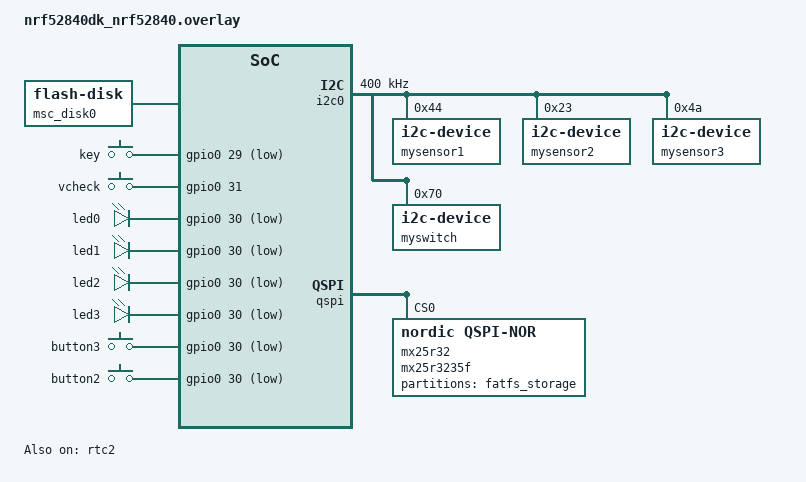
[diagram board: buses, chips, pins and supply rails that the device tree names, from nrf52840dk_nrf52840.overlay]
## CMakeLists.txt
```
# SPDX-License-Identifier: Apache-2.0

cmake_minimum_required(VERSION 3.20.0)

find_package(Zephyr REQUIRED HINTS $ENV{ZEPHYR_BASE})
project(MscAndBLE)

target_include_directories(app PRIVATE inc)
target_sources(app PRIVATE
 src/main.c
 src/sensor.c
 src/user_gpio.c
 src/user_workQueue.c
 src/user_rtc.c
 src/user_storage.c
 src/lcd.c
 src/bat_ssadc.c
 src/ble_nus_order.c
 src/button.c
 src/server_4G.c
 )
```

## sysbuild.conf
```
# SB_CONFIG_PARTITION_MANAGER=y
# Enable MCUboot bootloader supportß
SB_CONFIG_BOOTLOADER_MCUBOOT=y

#DO NOT FORGET TO USE YOUR OWN PRIVATE KEY FOR SIGNING THE IMAGE
# SB_CONFIG_BOOT_SIGNATURE_KEY_FILE="/home/my_ubuntu/my_precious_key/priv.pem"ß
```

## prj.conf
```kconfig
CONFIG_FPU=y

# application prj config
CONFIG_LOG=y
CONFIG_LOG_PRINTK=y
CONFIG_LOG_BACKEND_RTT=y
CONFIG_DK_LIBRARY=y

# use set RTT conslole 
CONFIG_USE_SEGGER_RTT=y
CONFIG_RTT_CONSOLE=y
CONFIG_UART_CONSOLE=n

# user BT software config
CONFIG_BT=y
# add BT peripheral rola support AD
CONFIG_BT_PERIPHERAL=y
# add nus service
CONFIG_BT_NUS=y

CONFIG_BT_GATT_CLIENT=y  
# auto update connection parameters
CONFIG_BT_PERIPHERAL_PREF_MIN_INT=32
CONFIG_BT_PERIPHERAL_PREF_MAX_INT=48 
CONFIG_BT_PERIPHERAL_PREF_LATENCY=0
CONFIG_BT_PERIPHERAL_PREF_TIMEOUT=400  
CONFIG_BT_GAP_AUTO_UPDATE_CONN_PARAMS=y 
# Enable PHY updates.
CONFIG_BT_USER_PHY_UPDATE=y
# auto update MTU data length
CONFIG_BT_USER_DATA_LEN_UPDATE=y     
CONFIG_BT_CTLR_DATA_LENGTH_MAX=251
CONFIG_BT_BUF_ACL_RX_SIZE=251
CONFIG_BT_BUF_ACL_TX_SIZE=251
CONFIG_BT_L2CAP_TX_MTU=247

# max event length is 600000 us
CONFIG_BT_CTLR_SDC_MAX_CONN_EVENT_LEN_DEFAULT=60000   

# # user config nrfx SAADC driver 
CONFIG_NRFX_SAADC=y

# user HCI read Rssi
CONFIG_BT_CTLR_CONN_RSSI=y

# user set DIS information seriver
CONFIG_BT_DIS=y
CONFIG_BT_DIS_PNP=n
CONFIG_BT_DIS_MODEL="YK-TM"
CONFIG_BT_DIS_MANUF="徐州永康电子"
CONFIG_BT_DIS_SERIAL_NUMBER=y
CONFIG_BT_DIS_FW_REV=y
CONFIG_BT_DIS_HW_REV=y
CONFIG_BT_DIS_SW_REV=y
CONFIG_BT_DIS_SERIAL_NUMBER_STR="multisensor"
CONFIG_BT_DIS_FW_REV_STR="V0.0.1"
CONFIG_BT_DIS_HW_REV_STR="V0.0.1"
CONFIG_BT_DIS_SW_REV_STR="NCS V3.1.0"
# DIS date put in flash
CONFIG_BT_SETTINGS=y
CONFIG_SETTINGS_RUNTIME=y
CONFIG_SETTINGS=y
CONFIG_SETTINGS_NONE=y
CONFIG_BT_DIS_SETTINGS=y
CONFIG_BT_DIS_STR_MAX=21

# enable battery level service
CONFIG_BT_BAS=y

# enable FOTA over Bluethooth LE
CONFIG_NCS_SAMPLE_MCUMGR_BT_OTA_DFU=y

# user Config I2c peripheral and float number type calculation 
CONFIG_I2C=y
CONFIG_I2C_CALLBACK=y
# enable is increase option 1Kbytes, and we can print float temperature
CONFIG_CBPRINTF_FP_SUPPORT=y

#user config SPI to HT1621
CONFIG_SPI=y
CONFIG_SPI_ASYNC=y
CONFIG_NRFX_SPIM3=y

# sure open QSPI and FLASH support
CONFIG_NORDIC_QSPI_NOR=y
CONFIG_NORDIC_QSPI_NOR_FLASH_LAYOUT_PAGE_SIZE=4096
CONFIG_FLASH=y
CONFIG_FLASH_MAP=y

# add file system 
CONFIG_DISK_ACCESS=y
CONFIG_FILE_SYSTEM=y
CONFIG_FAT_FILESYSTEM_ELM=y
CONFIG_FS_FATFS_LFN=y   #change seek size must
CONFIG_DISK_DRIVERS=y
CONFIG_DISK_DRIVER_FLASH=y

# usb set
CONFIG_USB_DEVICE_STACK=y
CONFIG_USB_DEVICE_PRODUCT="yonkerTM"
CONFIG_USB_DEVICE_PID=0x0008
CONFIG_USB_MASS_STORAGE=y
CONFIG_USB_DEVICE_LOG_LEVEL_ERR=y
CONFIG_USB_MASS_STORAGE_LOG_LEVEL_ERR=y
CONFIG_USB_DEVICE_INITIALIZE_AT_BOOT=n
CONFIG_MASS_STORAGE_DISK_NAME="NAND"
CONFIG_MASS_STORAGE_STACK_SIZE=1024

# uart set
CONFIG_SERIAL=y
CONFIG_UART_ASYNC_API=y
CONFIG_NRFX_UARTE0=y
CONFIG_UART_0_ASYNC=y



# user system sleep define
CONFIG_PM_DEVICE=y
CONFIG_CRC=y
CONFIG_POWEROFF=y
```

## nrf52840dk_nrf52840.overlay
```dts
// To get started, press Ctrl+Space (or Option+Esc) to bring up the completion menu and view the available nodes.

// You can also use the buttons in the sidebar to perform actions on nodes.
// Actions currently available include:

// * Enabling / disabling the node
// * Adding the bus to a bus
// * Removing the node
// * Connecting ADC channels

// For more help, browse the DeviceTree documentation at https://docs.zephyrproject.org/latest/guides/dts/index.html
// You can also visit the nRF DeviceTree extension documentation at https://docs.nordicsemi.com/bundle/nrf-connect-vscode/page/guides/ncs_configure_app.html#devicetree-support-in-the-extension
/ {
    chosen {
        nordic,pm-ext-flash = &mx25r32;
    };
};

/ {
	msc_disk0 {
		status="okay";
		compatible = "zephyr,flash-disk";
		partition = <&fatfs_storage>;
		disk-name = "NAND";
		/* cache-size == page erase size */
		cache-size = <4096>;
	};
};

&qspi_default {
	group1 {
		psels = <NRF_PSEL(QSPI_SCK, 0, 25)>,
          <NRF_PSEL(QSPI_IO1, 0, 24)>,
          <NRF_PSEL(QSPI_IO2, 0, 21)>,
          <NRF_PSEL(QSPI_IO3, 0, 20)>;
		nordic,drive-mode = <NRF_DRIVE_H0H1>;
	};

	group2 {
		psels = <NRF_PSEL(QSPI_CSN, 0, 23)>;
		nordic,invert;
		nordic,drive-mode = <NRF_DRIVE_H0H1>;
	};

	group3 {
		psels = <NRF_PSEL(QSPI_IO0, 1, 0)>;
		nordic,drive-mode = <NRF_DRIVE_S0H1>;
	};
};

&qspi_sleep {
	group1 {
		psels = <NRF_PSEL(QSPI_SCK, 0, 25)>,
          <NRF_PSEL(QSPI_IO0, 1, 0)>,
          <NRF_PSEL(QSPI_IO1, 0, 24)>,
          <NRF_PSEL(QSPI_IO2, 0, 21)>,
          <NRF_PSEL(QSPI_IO3, 0, 20)>;
	};

	group2 {
		psels = <NRF_PSEL(QSPI_CSN, 0, 23)>;
	};
};

&uart0_default {
	group2 {
		psels = <NRF_PSEL(UART_RX, 1, 7)>, <NRF_PSEL(UART_TX, 1, 6)>;
	};
};

&uart0_sleep {
	group1 {
		psels = <NRF_PSEL(UART_TX, 1, 6)>, <NRF_PSEL(UART_RX, 1, 7)>;
	};
};

&i2c0_default {
	group1 {
		psels = <NRF_PSEL(TWIM_SDA, 0, 11)>, <NRF_PSEL(TWIM_SCL, 0, 12)>;
	};
};

&i2c0_sleep {
	group1 {
		psels = <NRF_PSEL(TWIM_SDA, 0, 11)>, <NRF_PSEL(TWIM_SCL, 0, 12)>;
	};
};

&spi3 {
	cs-gpios = <&gpio0 14 0>;
    status = "disabled";
};

&spi3_default {
	group1 {
		psels = <NRF_PSEL(SPIM_SCK, 0, 15)>, <NRF_PSEL(SPIM_MOSI, 0, 16)>;
	};
};

&spi3_sleep {
	group1 {
		psels = <NRF_PSEL(SPIM_SCK, 0, 15)>, <NRF_PSEL(SPIM_MOSI, 0, 16)>;
	};
};

&spi1 {
	cs-gpios = <&gpio0 6 0>;
};

&spi1_sleep {
	group1 {
		psels = <NRF_PSEL(SPIM_SCK, 0, 5)>,
				<NRF_PSEL(SPIM_MOSI, 0, 6)>,
				<NRF_PSEL(SPIM_MISO, 0, 26)>;
	};
};

&spi1_default {
	group1 {
		psels = <NRF_PSEL(SPIM_SCK, 0, 8)>,
          <NRF_PSEL(SPIM_MOSI, 0, 5)>,
          <NRF_PSEL(SPIM_MISO, 0, 4)>;
	};
};

&button0 {
	gpios = <&gpio0 29 (GPIO_ACTIVE_LOW | GPIO_PULL_UP)>;
	label = "key";
};

&button1 {
	gpios = <&gpio0 31 0>;
	label = "vcheck";
};

&led0 {
	gpios = <&gpio0 30 GPIO_ACTIVE_LOW>;
};

&led1 {
	gpios = <&gpio0 30 GPIO_ACTIVE_LOW>;
};

&led2 {
	gpios = <&gpio0 30 GPIO_ACTIVE_LOW>;
};

&led3 {
	gpios = <&gpio0 30 GPIO_ACTIVE_LOW>;
};

&button3 {
	gpios = <&gpio0 30 (GPIO_ACTIVE_LOW | GPIO_PULL_UP)>;
};

&button2 {
	gpios = <&gpio0 30 (GPIO_ACTIVE_LOW | GPIO_PULL_UP)>;
};

&pwm0_default {
	group1 {
		psels = <NRF_PSEL(PWM_OUT0, 0, 30)>;
	};
};

&pwm0_sleep {
	group1 {
		psels = <NRF_PSEL(PWM_OUT0, 0, 30)>;
	};
};

&i2c0 {
	clock-frequency = <I2C_BITRATE_FAST>;
	mysensor1: sensorSHT40@44{
		compatible = "i2c-device";
		status = "okay";
		reg = <0x44>;
	};
	mysensor2: sensorBH1750@23{
		compatible = "i2c-device";
		status = "okay";
		reg = <0x23>;
	};
	mysensor3: sensorMAX44009@4a{
		compatible = "i2c-device";
		status = "okay";
		reg = <0x4a>;
	};	
	myswitch:switchPCA9546a@70{
		compatible = "i2c-device";
		status = "okay";
		reg = <0x70>;
	};	
};

&rtc2 {
	status = "okay";
};

 /delete-node/ &mx25r64;

&qspi {
	status = "okay";
	pinctrl-0 = <&qspi_default>;
	pinctrl-1 = <&qspi_sleep>;
	pinctrl-names = "default", "sleep";

	mx25r32: mx25r3235f@0 {
		status = "okay";
		compatible = "nordic,qspi-nor";
		reg = <0>;
		jedec-id = [c2 28 16];
		size = <33554432>;
		/* MX25R32 supports all readoc options */
		readoc = "read4io";
		/* MX25R32 supports only pp and pp4io */
		writeoc = "pp4io";
		sck-frequency = <8000000>;
		has-dpd;
		/* consistent with the manual */
		t-enter-dpd = <10000>;
		t-exit-dpd = <35000>;
		requires-ulbpr;
		partitions {
				compatible = "fixed-partitions";
				#address-cells = <1>;
				#size-cells = <1>;
				fatfs_storage: partition@0 {
						label = "fatfs_storage";
						reg = <0x00000000 0x00400000>; // 4MB全分区
			};		
		};
	};
};
/delete-node/ &{/pin-controller/uart0_default/group1/};
```

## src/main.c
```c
/**
 * @file main.c
 * @author sok (you@domain.com)
 * @brief 
 * @version 0.0.1
 * @date 2025-10-20
 * 
 * @copyright Copyright (c) 2025
 * 
 */
/*蓝牙基础头文件gap uuid*/
#include <zephyr/bluetooth/bluetooth.h>
#include <zephyr/bluetooth/gap.h>
#include <zephyr/bluetooth/uuid.h>
#include <zephyr/bluetooth/addr.h>
/*蓝牙gatt引用头文件*/
#include <zephyr/bluetooth/gatt.h>
/*蓝牙连接修改头文件*/
#include <zephyr/bluetooth/conn.h>
/*添加nus服务头文件*/
#include <bluetooth/services/nus.h>
/*添加DIS用到的协助头文件*/
#include <zephyr/sys/byteorder.h>
#include <stddef.h>
#include <string.h>
#include <zephyr/settings/settings.h>
/*添加电池电量服务头文件*/
#include <zephyr/bluetooth/services/bas.h>
/*user define include*/
#include "main.h"
#include "sensor.h"
#include "user_gpio.h"
#include "user_rtc.h"
#include "lcd.h"
#include "user_storage.h"
#include "user_workQueue.h"
#include "bat_ssadc.h"
#include "ble_nus_order.h"
#include "button.h"

/* user define code verial ********************************************************************/
#define LOG_MODULE_NAME YKTM_LOG
LOG_MODULE_REGISTER(LOG_MODULE_NAME);
struct bt_conn *my_conn = NULL;
uint16_t sensor_read_Tcnt = 0;
bool sensor_read_flag = false;		//允许读取传感器旗标，开机的时候会卡住，随后正常运行过程中超过<更新>间隔，置(真)一次
bool storage_flag = false;				//允许存储/发送旗标，运行过程中超过<采样>间隔，置为真。
uint8_t send_data_buf[28] = {0x55,0xaa};

extern uint8_t interval_compare;	//用于对比采集间隔计时

yongker_TM_initTypedef yk_tm={
	.warm_icon_sta = false,
	.bat_level = 0,
	.bt_sta = false,
	.rssi = 0,
	.storage_sta = false,
	.storage_read_sta = false,
	.charging_sta = false,
	.samp_interval = 1,			//采样时间默认1min，在rtc的1min中内同步增加bool flag，在线程中发送
	.display_chn = 0,
	.start_send_flag = false,
};
yongker_tm_channelDef   channel_0={
	.channel_type = sht40,
	.temp_type_is_C = true,
	.temp_celsius = -365,
	.temp_fahrenheit = -977,
	.humidity = 256,
	.h_hum = 600,
	.l_hum = 200,
	.h_temp = 500,
	.l_temp = 100,
	.h_lux = 3000,
	.l_lux = 100,
	.storage_idx = 0,
	.storage_over = false,
	.storage_read_idx = 0,
	.storage_read_ok = false,
	.sending_retry = false,
	.sending_sta = false,
	.sending_cnt = 0,
};
yongker_tm_channelDef   channel_1={
	.channel_type = nosensor,
	.h_hum = 600,
	.l_hum = 200,
	.h_temp = 500,
	.l_temp = 100,
	.h_lux = 3000,
	.l_lux = 100,	
	.storage_idx = 0,
	.storage_over = false,
	.storage_read_idx = 0,	
	.storage_read_ok = false,	
	.sending_retry = false,
	.sending_sta = false,	
	.sending_cnt = 0,
};
yongker_tm_channelDef   channel_2={
	.channel_type = nosensor,
	.h_hum = 600,
	.l_hum = 200,
	.h_temp = 500,
	.l_temp = 100,
	.h_lux = 3000,
	.l_lux = 100,	
	.storage_idx = 0,
	.storage_over = false,
	.storage_read_idx = 0,	
	.storage_read_ok = false,	
	.sending_retry = false,
	.sending_sta = false,	
	.sending_cnt = 0,
};

/* 更新连接参数部分代码* start********************************************************************/
static struct bt_gatt_exchange_params exchange_params;
static void exchange_func(struct bt_conn *conn, uint8_t att_err,  struct bt_gatt_exchange_params *params)
{
	LOG_INF("MTU exchange %s", att_err == 0 ? "successful" : "failed");
	if (!att_err) {
		uint16_t payload_mtu =
			bt_gatt_get_mtu(conn) - 3; // 3 bytes used for Attribute headers.
		LOG_INF("New MTU: %d bytes", payload_mtu);
	}
}
static void update_phy(struct bt_conn *conn)																														
{
	int err;
	const struct bt_conn_le_phy_param preferred_phy = {
			.options = BT_CONN_LE_PHY_OPT_NONE,
			.pref_rx_phy = BT_GAP_LE_PHY_2M,
			.pref_tx_phy = BT_GAP_LE_PHY_2M,
	};
	err = bt_conn_le_phy_update(conn, &preferred_phy);
	if (err) {
			LOG_ERR("bt_conn_le_phy_update() returned %d", err);
	}
};
static void update_data_length(struct bt_conn *conn)																								
{
	int err;
	struct bt_conn_le_data_len_param my_data_len = {
			.tx_max_len = BT_GAP_DATA_LEN_MAX,
			.tx_max_time = BT_GAP_DATA_TIME_MAX,
	};
	err = bt_conn_le_data_len_update(my_conn, &my_data_len);
	if (err) {
			LOG_ERR("data_len_update failed (err %d)", err);
	}
};
static void update_mtu(struct bt_conn *conn)																														
{
	int err;
	exchange_params.func = exchange_func;
	err = bt_gatt_exchange_mtu(conn, &exchange_params);
	if (err) {
		LOG_ERR("bt_gatt_exchange_mtu failed (err %d)", err);
	}
}
void on_le_param_updated(struct bt_conn *conn, uint16_t interval, uint16_t latency,	 uint16_t timeout)	
{
	double connection_interval = interval * 1.25; // in ms
	uint16_t supervision_timeout = timeout * 10; // in ms
	LOG_INF("Connection parameters updated: interval %.2f ms, latency %d intervals, timeout %d ms",
		connection_interval, latency, supervision_timeout);
}
void on_le_phy_updated(struct bt_conn *conn, struct bt_conn_le_phy_info *param)													
{
	if (param->tx_phy == BT_CONN_LE_TX_POWER_PHY_1M) {
		LOG_INF("PHY updated. New PHY: 1M");
	} else if (param->tx_phy == BT_CONN_LE_TX_POWER_PHY_2M) {
		LOG_INF("PHY updated. New PHY: 2M");
	} else if (param->tx_phy == BT_CONN_LE_TX_POWER_PHY_CODED_S8) {
		LOG_INF("PHY updated. New PHY: Long Range");
	}
}
void on_le_data_len_updated(struct bt_conn *conn, struct bt_conn_le_data_len_info *info)								
{
	uint16_t tx_len = info->tx_max_len;
	uint16_t tx_time = info->tx_max_time;
	uint16_t rx_len = info->rx_max_len;
	uint16_t rx_time = info->rx_max_time;
	LOG_INF("Data length updated. Length %d/%d bytes, time %d/%d us", tx_len, rx_len, tx_time,
		rx_time);
}
/* 更新连接参数部分代码* end**********************************************************************/

/* 蓝牙广播设置相关部分代码* start*****************************************************************/
static uint8_t bt_mac_add[6] = {0};
static void bt_get_device_address(void)
{
	/* 蓝牙规范5.3 MAC地址最高两个有效位必须等于1，nrf connect显示出来时已经补上了 */
	unsigned int device_addr_0 = NRF_FICR->DEVICEADDR[0];
	unsigned int device_addr_1 = NRF_FICR->DEVICEADDR[1];
	const uint8_t *part_0 = (const uint8_t *)&device_addr_0;
	const uint8_t *part_1 = (const uint8_t *)&device_addr_1;
	bt_mac_add[0] = part_1[1];
	bt_mac_add[1] = part_1[0];
	bt_mac_add[2] = part_0[3];
	bt_mac_add[3] = part_0[2];
	bt_mac_add[4] = part_0[1];
	bt_mac_add[5] = part_0[0];
	LOG_INF("Get mac address ok");
}
static struct bt_le_adv_param *adv_param = BT_LE_ADV_PARAM(
	// 静态修改广播
	(BT_LE_ADV_OPT_CONNECTABLE |
	BT_LE_ADV_OPT_USE_IDENTITY),
	1600,			//5000ms x 0.625
	1600,		  //5000ms x 0.625
	NULL);
static const struct bt_data ad[] = {
	BT_DATA_BYTES(BT_DATA_FLAGS, (BT_LE_AD_GENERAL | BT_LE_AD_NO_BREDR)), // 可发现，并且不支持经典蓝牙
	BT_DATA(BT_DATA_NAME_COMPLETE, DEVICE_NAME, DEVICE_NAME_LEN),					// 广播名称
	BT_DATA(BT_DATA_MANUFACTURER_DATA, bt_mac_add, 6),										// MAC 地址，ios gatt读不到，需要从广播获取
};
static const struct bt_data sd[] = {
	BT_DATA_BYTES(BT_DATA_UUID128_ALL,
	BT_UUID_128_ENCODE(0x6e400001, 0xb5a3, 0xf393, 0xe0a9, 0xe50e24dcca9e)),
};
void on_connected(struct bt_conn *conn, uint8_t err)
{
	if (err) {
		LOG_ERR("Connection error %d", err);
		return;
	}
	LOG_INF("Connected");
	my_conn = bt_conn_ref(conn);
	struct bt_conn_info info;							//连接参数结构体
	err = bt_conn_get_info(conn, &info);	//获取连接参数信息
	if (err) {
		LOG_ERR("bt_conn_get_info() returned %d", err);
		return;
	}
	yk_tm.bt_sta = true;
	yk_tm.rssi = 4;	
	refresh_flag.ble_sta = true;	
	k_msleep(100);
	update_phy(my_conn);
	update_data_length(my_conn);
	update_mtu(my_conn);
}
void on_disconnected(struct bt_conn *conn, uint8_t reason)
{
	LOG_INF("Disconnected. Reason %d", reason);
	if (my_conn) {
		bt_conn_unref(my_conn);
		my_conn = NULL;
	}
	yk_tm.bt_sta = false;
	refresh_flag.ble_sta = true;
	yk_tm.start_send_flag = false;
	stop_readStorage_SendSta();
}
void on_recycled(void)
{
}
struct bt_conn_cb connection_callbacks = {
		.connected = on_connected,
		.disconnected = on_disconnected,
		.recycled = on_recycled,
    .le_param_updated   = on_le_param_updated,
    .le_phy_updated     = on_le_phy_updated,
    .le_data_len_updated    = on_le_data_len_updated,		
};
/* 蓝牙广播设置相关部分代码* end--*****************************************************************/

/* 读取连接状态下rssi数值 * start*****************************************************************/
static void read_conn_rssi(uint16_t handle, int8_t *rssi)
{
	struct net_buf *buf, *rsp = NULL;
	struct bt_hci_cp_read_rssi *cp;
	struct bt_hci_rp_read_rssi *rp;
	int err;

	buf = bt_hci_cmd_create(BT_HCI_OP_READ_RSSI, sizeof(*cp));
	if (!buf) {
			printk("Unable to allocate command buffer\n");
			return;
	}
	cp = net_buf_add(buf, sizeof(*cp));
	cp->handle = sys_cpu_to_le16(handle);

	err = bt_hci_cmd_send_sync(BT_HCI_OP_READ_RSSI, buf, &rsp);
	if (err) {
			uint8_t reason = rsp ?
					((struct bt_hci_rp_read_rssi *)rsp->data)->status : 0;
			printk("Read RSSI err: %d reason 0x%02x\n", err, reason);
			return;
	}
	rp = (void *)rsp->data;
	*rssi = rp->rssi;
	net_buf_unref(rsp);	
}
static int8_t yk_rssi= 0xff;
static uint16_t read_rssi_cnt;
void read_yonkerTM_BleRssi()
{
	uint16_t conn_handle;
	read_rssi_cnt++;
	if(read_rssi_cnt >= RSSI_READ_PERIOD)
	{
		read_rssi_cnt = 0;
		if(yk_tm.bt_sta)
		{
			int rc = bt_hci_get_conn_handle(my_conn, &conn_handle);
			if (rc) {
					printk("fail getting conn handle\n");
					return;
			}	
			read_conn_rssi(conn_handle, &yk_rssi);
			if(yk_rssi < -75)
				yk_tm.rssi = 1;
			if((-75 <= yk_rssi)&&(yk_rssi < -65))
				yk_tm.rssi = 2;
			if((-65 <= yk_rssi)&&(yk_rssi < -55))			
				yk_tm.rssi = 3;
			if(-55 <= yk_rssi)
				yk_tm.rssi = 4;
			refresh_flag.ble_sta = true;
			//printk("RSSI in connection: %d dBm\n", yk_rssi);
		}
	}
}
/* 读取连接状态下rssi数值 * end*******************************************************************/

/* 串口透传NUS 服务部分代码* start****************************************************************/
bool ble_order_is = false;
uint8_t order_buffer[20];
uint16_t length = 0;
static void bt_receive_cb(struct bt_conn *conn, const uint8_t *const data, uint16_t len)
{
	//发送存储数据时，停止一些接受命令的操作
	if(yk_tm.storage_read_sta == false)
	{
		length = len;
		memcpy(&order_buffer, data, length);
		ble_order_is = true;
	}
};
void yk_tm_order_cb()
{
	if(ble_order_is)
	{
		ble_order_is = false;
		che_sync_time_order(order_buffer, length);
		che_SetAram_threshold_order(order_buffer, length);
		che_collect_data_order(order_buffer, length);
		che_open_storage_order(order_buffer, length);
		che_close_storage_order(order_buffer, length);
		che_get_storage_data_order(order_buffer, length);
		che_systemoff_order(order_buffer, length);
		che_DevStatus_order(order_buffer, length);
		che_clearStorage(order_buffer, length);
	}
}
static void bt_send_enabled_cb(enum bt_nus_send_status status) {

};
static void bt_sent_cb(struct bt_conn *conn) {

};
static struct bt_nus_cb nus_cb = {
		.received = bt_receive_cb,
		.send_enabled = bt_send_enabled_cb,
		.sent = bt_sent_cb,
};
void reback_order_Status(uint8_t *code, uint16_t len)
{
	int err;
	if(yk_tm.bt_sta == true)
	{
		err = bt_nus_send(my_conn, code, len);
		if(err)
		{
			LOG_WRN("order reback error is:%d\n",err);
		}
		else
		{
			LOG_INF("order send ok \n");
		}
	}
}
static void anaylse_channelType(yongker_tm_channelDef *chn, uint8_t *data)
{
	if(chn->channel_type == nosensor)
	{
		data[0] = 0x00;
		data[1] = 0x00; 
		data[2] = 0x00; 
		data[3] = 0x00; 
	}
	else if(chn->channel_type == sht40)
	{
		data[0] = (chn->temp_celsius >> 8) & 0xff;
		data[1] = chn->temp_celsius & 0xff;
		data[2] = (chn->humidity >> 8) & 0xff;
		data[3] = chn->humidity & 0xff;
	}
	else if((chn->channel_type == bh1750)||(chn->channel_type == max44009))
	{
		data[0] = (chn->klux >> 8) & 0xff;
		data[1] = chn->klux & 0xff;
		data[2] = 0x00; 
		data[3] = 0x00; 		
	}
}
void send_yktm_Data()
{
	if(interval_compare >= yk_tm.samp_interval)
	{
		interval_compare = 0;
		storage_flag = true;
		send_data_buf[0] = 0x55; 
		send_data_buf[1] = 0xaa;
		send_data_buf[2] = (timeInfo_stamp.year >> 8) & 0xff;
		send_data_buf[3] = timeInfo_stamp.year & 0xff;
		send_data_buf[4] = timeInfo_stamp.month;
		send_data_buf[5] = timeInfo_stamp.day;
		send_data_buf[6] = timeInfo_stamp.hour;
		send_data_buf[7] = timeInfo_stamp.min;
		//channel 0
		send_data_buf[8] = 0x00;
		send_data_buf[9] = sensorType_is(channel_0);
		anaylse_channelType(&channel_0,&send_data_buf[10]);
		//channel 1
		send_data_buf[14] = 0x01;
		send_data_buf[15] = sensorType_is(channel_1);
		anaylse_channelType(&channel_1,&send_data_buf[16]);
		//channel 2
		send_data_buf[20] = 0x02;
		send_data_buf[21] = sensorType_is(channel_2);
		anaylse_channelType(&channel_2,&send_data_buf[22]);
		//包尾
		send_data_buf[26] = 0x66;
		send_data_buf[27] = 0xbb;
		if((yk_tm.bt_sta == true)&&(yk_tm.start_send_flag))
		{
			reback_order_Status(send_data_buf, 28);
		}
	}
}
/* 串口透传NUS 服务部分代码* end******************************************************************/

/* 设备信息--- 服务部分代码* start****************************************************************/
static int settings_runtime_load(void)
{
#if defined(CONFIG_BT_DIS_SETTINGS)
	settings_runtime_set("bt/dis/model",
			     "YK-TM",	//设备名称
			     sizeof("YK-TM"));
	settings_runtime_set("bt/dis/manuf",
			     "徐州永康电子",	//制造商名称
			     sizeof("徐州永康电子"));
#if defined(CONFIG_BT_DIS_SERIAL_NUMBER)
	settings_runtime_set("bt/dis/serial",
			     CONFIG_BT_DIS_SERIAL_NUMBER_STR,
			     sizeof(CONFIG_BT_DIS_SERIAL_NUMBER_STR));
#endif
#if defined(CONFIG_BT_DIS_SW_REV)
	settings_runtime_set("bt/dis/sw",
			     CONFIG_BT_DIS_SW_REV_STR,
			     sizeof(CONFIG_BT_DIS_SW_REV_STR));
#endif
#if defined(CONFIG_BT_DIS_FW_REV)
	settings_runtime_set("bt/dis/fw",
			    	"V0.1.6",
			     sizeof("V0.1.6"));
#endif
#if defined(CONFIG_BT_DIS_HW_REV)
	settings_runtime_set("bt/dis/hw",
			     CONFIG_BT_DIS_HW_REV_STR,
			     sizeof(CONFIG_BT_DIS_HW_REV_STR));
#endif
#endif
	return 0;
}
/* 设备信息--- 服务部分代码* end******************************************************************/

/* 用户逻辑功能*----------- start****************************************************************/
void dev_intoSleep_front()
{
	disable_iic_sensor();
	close_lcd_display();
	storage_clear_allFile();

}
void dev_intoSleep(bool lowPow)
{
	disable_qspi_mx25r32();
	nrf_gpio_pin_clear(PCA_RESET); 
  nrf_gpio_pin_clear(CH1_EN); 
  nrf_gpio_pin_clear(CH2_EN);     
  nrf_gpio_pin_clear(LCD_CS);
  nrf_gpio_pin_clear(LCD_WR);
  nrf_gpio_pin_clear(LCD_DATA);  
  nrf_gpio_pin_clear(BQ_CE);

	nrf_gpio_cfg_output(PCA_SDA);
	nrf_gpio_cfg_output(PCA_SCL);
  nrf_gpio_pin_clear(PCA_SDA);  
  nrf_gpio_pin_clear(PCA_SCL);
	
	if(lowPow == false)
	{
  	nrf_gpio_cfg_input(BUTTON, NRF_GPIO_PIN_NOPULL);
  	nrf_gpio_cfg_sense_set(BUTTON, NRF_GPIO_PIN_SENSE_LOW); 	
	}
  	nrf_gpio_cfg_input(VCHECK, NRF_GPIO_PIN_NOPULL);
  	nrf_gpio_cfg_sense_set(VCHECK, NRF_GPIO_PIN_SENSE_HIGH); 

	sys_poweroff();
}

/* 用户逻辑功能*----------- end******************************************************************/
uint8_t senser_is_num = 0;
int main(void)
{
	int err;
	/* user logic function start ---*/
	my_rtc_init();
	yonker_tm_gpio_init();
	lcd_ht1621_init();
	Fatfs_storage_init();
	ssadc_init();
	display_lcd_init();
	/* 注册连接事件回调 */
	bt_conn_cb_register(&connection_callbacks);	
	/* 先使能协议栈 */
	err = bt_enable(NULL);
	if (err)
	{
		LOG_ERR("Bluetooth init failed (err %d)\n", err);
		return;
	}
	/* 系统存储ble */
	if (IS_ENABLED(CONFIG_BT_SETTINGS))
	{
		settings_load();
	}	
	/* 开启协议栈后，可获取本地mac */
	bt_get_device_address();	
	/* 更新DIS服务 */
	settings_runtime_load();
	/* 使能NUS服务 */
	err = bt_nus_init(&nus_cb);
	if (err)
	{
		LOG_ERR("Failed to initialize UART service (err: %d)", err);
		return;
	}	
 /* 开启广播 */
	err = bt_le_adv_start(adv_param, ad, ARRAY_SIZE(ad), sd, ARRAY_SIZE(sd));
	if (err)
	{
		LOG_ERR("Advertising failed to start (err %d)\n", err);
		return;
	}
	yongker_tm_work_queue_init();
	button_gpiote_init();
	vcheck_gpiote_init();
	sensor_read_flag = true;
	myVcheck.toogle_flag = true;
}
/**
 * @brief： 消费者线程
 * @priority:  8
 * @description: 每过10sec检测一次当前通道，更新数据并刷新屏幕
 * @contiun:     根据采样间隔，周期性的读取数据
 * @contiun:     每当检测到切换界面按键动作，检测一次通道，切换更新显示。
 * 
 */
#define STACKSIZE	4096	
#define CUSTOMER_THREAD_PRIORITY 8
uint16_t number_cnt_test = 0;
static void customer_thread()
{
	while(1)
	{
		k_msleep(10);				
		sensor_read_Tcnt++;		
		if(sensor_read_Tcnt >= CHECK_CHN_SENSOR)
		{
			sensor_read_Tcnt = 0;
			sensor_read_flag = true;  
		}
		if(sensor_read_flag)
		{
			nrf_gpio_pin_set(CH1_EN); 
			nrf_gpio_pin_set(CH2_EN);  
			k_msleep(10);			 			
			/** @brief：读取数据，并且更新数值显示 */
			sensor_read_flag = false;
			channel_0.channel_type = CheckChn_Sensor_is(0);
			read_sensor_data(&channel_0);		
			channel_1.channel_type = CheckChn_Sensor_is(1);
			read_sensor_data(&channel_1);
			channel_2.channel_type = CheckChn_Sensor_is(2);
			read_sensor_data(&channel_2);
			refresh_flag.channel_data_sta  = true;
			/** @brief: 判断该通道是否有超过设定的阈值，有责电量报警图标 */
			switch(yk_tm.display_chn)
			{
				case 0:
				judege_sensor_warming(&channel_0);
				break;
				case 1:
				judege_sensor_warming(&channel_1);
				break;
				case 2:
				judege_sensor_warming(&channel_2);
				break;
			}
			refresh_flag.channel_warming_sta = true;
			// nrf_gpio_pin_clear(CH1_EN); 
 		  // nrf_gpio_pin_clear(CH2_EN);     
		}
	}
}
K_THREAD_DEFINE(customer_ID, STACKSIZE, customer_thread, NULL, NULL, NULL, CUSTOMER_THREAD_PRIORITY, 0,	0);
/**
 * @brief： 存储与发送存储线程
 * @priority:  2
 * @description: 1. 触发存储旗标storage_sta为真时，在此线程执行存储，优先级要高于现实和数据读取，因为存储绝对不能错一行。
 * @contiun:     2. 触发蓝牙发送存储数据任务时，再次线程中执行，同时也会主动关闭存储功能，优先此线程中只有蓝牙发送功能。
 */
#define STORAGE_SIZE	2048	
#define STORAGE_THREAD_PRIORITY 1
static void storage_thread()
{
	while(1)
	{
		k_msleep(1);
		if(yk_tm.storage_read_sta == true)
		{
			readStorage_SendData();
		}		
		if((storage_flag == true)&&(yk_tm.storage_sta == true))
		{
			storage_flag = false;
			storageCutIn_chn0_data();
			storageCutIn_chn1_data();
			storageCutIn_chn2_data();
		}
	}
}
K_THREAD_DEFINE(storage_ID, STORAGE_SIZE, storage_thread, NULL, NULL, NULL, STORAGE_THREAD_PRIORITY, 0,	0);
```

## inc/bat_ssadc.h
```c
#ifndef _BAT_SSADC_H_
#define _BAT_SSADC_H_

#include "main.h"
#include <nrfx_saadc.h>


/**
 * @brief 初始化内部adc，并且开始采集一次初始电池电量
 * 
 */
void ssadc_init();
/**
 * @brief 定时器周期读取电池电量
 */
void bat_Systime_handle();




#endif
```

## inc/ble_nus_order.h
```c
#ifndef _BLE_NUS_ORDER_H_
#define _BLE_NUS_ORDER_H_

#include "main.h"

const static uint8_t order_pwdn[4] = {0x50, 0x57, 0x44, 0x4e};
const static uint8_t order_status[6] = {0x53, 0x54, 0x41, 0x54, 0x55, 0x53};


uint8_t che_sync_time_order(const uint8_t *const rxbuf, uint16_t len);
uint8_t che_collect_data_order(const uint8_t *const rxbuf, uint16_t len);
uint8_t che_open_storage_order(const uint8_t *const rxbuf, uint16_t len);
uint8_t che_close_storage_order(const uint8_t *const rxbuf, uint16_t len);
uint8_t che_get_storage_data_order(const uint8_t *const rxbuf, uint16_t len);
uint8_t che_systemoff_order(const uint8_t *const rxbuf, uint16_t len);
uint8_t che_DevStatus_order(const uint8_t *const rxbuf, uint16_t len);
uint8_t che_SetAram_threshold_order(const uint8_t *const rxbuf, uint16_t len);
uint8_t che_clearStorage(const uint8_t *const rxbuf, uint16_t len);










#endif
```

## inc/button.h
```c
#ifndef _BUTTON_H_
#define _BUTTON_H_

#include "main.h"

/**
 * @brief 按键中断初始化
 */
void button_gpiote_init();
/**
 * @brief 定时器中处理按键长短按函数
 * 
 */
void button_EvenTimer_handle();
/**
 * @brief 按键短按事件执行功能
 */
void button_short_cb();
/**
 * @brief 按键长按事件执行功能
 */
void button_long_cb();
/**
 * @brief 充电引脚gpiote初始化
 */
void vcheck_gpiote_init();
/**
 * @brief vheck中断事件判断
 */
void vcheck_EvenTimer_handle();


void button_more_long_cb();

















#endif
```

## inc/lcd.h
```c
/**
 * @file lcd.h
 * @author your name (you@domain.com)
 * @brief 
 * @version 0.1
 * @date 2025-11-07
 * 
 * @copyright Copyright (c) 2025
 * @see 我们只考虑ht1621写的情况，是做
 */

#ifndef _LCD_H_
#define _LCD_H_

#include "main.h"
//HT1621控制命令
#define		SYSDIS 								0X00   //0B 100	0000	0000	X  关振荡器和LCD偏压发生器
#define 	SYSEN 								0X01   //0B 100	0000	0001	X  打开系统振荡器
#define 	LCDOFF 								0X02   //0B 100	0000	0010	X  关LCD偏压
#define 	LCDON 								0X03   //0B 100	0000	0011	X  开LCD偏压
#define 	TIMERDIS 							0X04   //0B 100	0000	0100	X  时基输出失效
#define 	WDTDIS								0X05   //0B 100	0000	0101	X  WDT溢出标志输出失效
#define 	TIMEREN 							0X06   //0B 100	0000	0110	X  时基输出使能
#define 	WDTEN 								0X07   //0B 100	0000	0111	X  WDT溢出标志输出有效
#define 	TONEOFF								0X08   //0B 100	0000	1000	X  关闭声音输出
#define 	TONEON 								0X09   //0B 100	0000	1001	X  打开声音输出
#define 	CLRTIMER 							0X0C   //0B 100	0000	1100	X  时基发生器清零
#define 	CLRWDT 								0X0E   //0B 100	0000	1110	X  清除WDT状态
#define 	XTAL_32K 							0X14   //0B 100	0001	0100	X  系统时钟源，晶振
#define 	RC256 								0X18   //0B 100	0001	1000	X  系统时钟源，片内RC
#define 	EXT256 								0X1C   //0B 100	0001	1100	X  系统时钟源，外部时钟源

#define 	BIAS1_2_2COM					0X20   //0B 100	0010	0000	X 	LCD 1/2偏压选项，2个公共口 
#define 	BIAS1_2_3COM					0X24   //0B 100	0010	0100	X 	LCD 1/2偏压选项，3个公共口
#define 	BIAS1_2_4COM					0X28   //0B 100	0010	1000	X 	LCD 1/2偏压选项，4个公共口

#define 	BIAS1_3_2COM					0X21   //0B 100	0010	0001	X 	LCD 1/3偏压选项，2个公共口 
#define 	BIAS1_3_3COM					0X25   //0B 100	0010	0101	X 	LCD 1/3偏压选项，3个公共口
#define 	BIAS1_3_4COM					0X29   //0B 100	0010	1001	X 	LCD 1/3偏压选项，4个公共口

#define 	TONE4K 								0X40   //0B 100	0100	0000	X  声音频率4K
#define 	TONE2K								0X50   //0B 100	0110	0000	X  声音频率2K
#define 	IRQ_DIS 							0X80   //0B 100	1000	0000	X  使/IRQ输出失效
#define 	IRQ_EN								0X88   //0B 100	1000	1000	X  使/IRQ输出有效
#define   BIAS                  0x52   //0b1000 0101 0010 1/3duty 4com

#define   SET_LCD_CS(x)               GPIO_SET(LCD_CS, x)
#define   SET_LCD_SCK(x)              GPIO_SET(LCD_WR, x)
#define   SET_LCD_DATA(x)             GPIO_SET(LCD_DATA, x)

#define   SET_BIT(byte, n)            ((byte) |= (1<<(n)))
#define   CLEAR_BIT(byte, n)          ((byte) &= ~(1 << (n)))
#define   SET_BYTE(byte, mask)        ((byte) |= (mask))
#define   CLEAR_BYTE(byte, mask)      ((byte) &= ~(mask))

#define   COM1                  0x03
#define   COM2                  0x02
#define   COM3                  0x01
#define   COM4                  0x00

/**
 * @brief 数码管高/低位置，对应l：低数字，对应h：高数字
 */
static const uint8_t num_wilcard_h[10] = {0x0B, 0x00, 0x07, 0x05, 0x0C, 0x0D, 0x0F, 0x00, 0x0F, 0x0D};
static const uint8_t num_wilcard_l[10] = {0x0E, 0x06, 0x0C, 0x0E, 0x06, 0x0A, 0x0A, 0x0E, 0x0E, 0x0E};


typedef struct 
{
  bool ble_sta;
  bool adc_sta;
  bool ext_sta;
  bool rtc_sta;
  bool charging_sta;
  bool storage_sta;
  bool channel_dis_sta;
  bool channel_data_sta;
  bool channel_warming_sta;
}lcd_refresh_TypeDef;
extern lcd_refresh_TypeDef  refresh_flag;
/**
 * @brief 显示传感器数据，其中包含好了传感器类型，与是否存在传感器的绘图逻辑
 * 
 * @param chn 0 - 2
 */
void display_sensor_data(uint8_t chn);
/**
 * @brief 显示蓝牙状态和强度
 */
void display_ble_sta();
/**
 * @brief 显示存储的状态
 */
void display_storage_sta();
/**
 * @brief 更新RTC时间
 * 
 * @param colSta 冒号状态
 */
void display_rtc_number(bool colSta);
/**
 * @brief 显示充电图标
 */
void display_charge_icon();
/**
 * @brief 是否显示报警图标
 * 
 * @param warm_sta t/f
 */
void display_waring_icon(bool warm_sta);
/**
 * @brief 显示电池等级
 * 
 * @param batLev 0 - 4
 */
void display_bat_level(uint8_t batLev);
/**
 * @brief 切换通道显示图标
 * 
 * @param chn 0 - 2
 */
void display_channel_icon(uint8_t chn);
/**
 * @brief 初始化开始显示
 * 
 */
void display_lcd_init();
/**
 * @brief 断码显示器初始化
 */
void lcd_ht1621_init();
/**
 * @brief 关闭lcd显示，最低功耗
 * 
 */
void close_lcd_display();


































#endif
```

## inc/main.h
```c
/**
 * @file main.h
 * @author your name (you@domain.com)
 * @brief 
 * @version 0.1
 * @date 2025-10-20
 * 
 * @copyright Copyright (c) 2025
 * 
 */
#ifndef MAIN_H
#define MAIN_H

// zephyr 
#include <zephyr/kernel.h>
#include <zephyr/device.h>
#include <zephyr/devicetree.h>
//system
#include "stdint.h"
// Log 
#include <zephyr/sys/printk.h>
#include <zephyr/logging/log.h>
// zephyr driver include
#include <zephyr/drivers/gpio.h>
// nordic hal driver include
#include <hal/nrf_gpio.h>
// nordic nrfx driver include
#include <nrfx_gpiote.h>
//电源管理头文件
#include <zephyr/device.h>
#include <zephyr/kernel.h>
#include <zephyr/pm/device.h>
#include <zephyr/sys/poweroff.h>

//user set period
#define RSSI_READ_PERIOD      500     //unit 10ms
#define BAT_LEV_PERIOD        500     //unit 10ms
#define CHECK_CHN_SENSOR      500     //unit 10ms


// ble adv name
#define DEVICE_NAME       "YK-TM"
#define DEVICE_NAME_LEN   (sizeof(DEVICE_NAME) - 1)
#define ADC_INTERVAL_MIN    800        //min time = 1000ms
#define ADC_INTERVAL_MAX    810        //max time = 1500ms

// define user gpio is
#define BAT_ADC                NRF_GPIO_PIN_MAP(0,2)
#define VCHECK                 NRF_GPIO_PIN_MAP(0,31)
#define CHG                    NRF_GPIO_PIN_MAP(0,27)
#define BUZZ                   NRF_GPIO_PIN_MAP(0,19)
#define FLASH_CS               NRF_GPIO_PIN_MAP(0,6)
#define FLASH_SCK              NRF_GPIO_PIN_MAP(0,8)
#define FLASH_MOSI             NRF_GPIO_PIN_MAP(0,5)
#define FLASH_MISO             NRF_GPIO_PIN_MAP(0,4)
#define LCD_CS                 NRF_GPIO_PIN_MAP(0,13)
#define LCD_WR                 NRF_GPIO_PIN_MAP(0,15)
#define LCD_DATA               NRF_GPIO_PIN_MAP(0,17)
#define PCA_SDA                NRF_GPIO_PIN_MAP(0,11)
#define PCA_SCL                NRF_GPIO_PIN_MAP(0,12)
#define PCA_RESET              NRF_GPIO_PIN_MAP(1,9)
#define CH1_EN                 NRF_GPIO_PIN_MAP(1,8)
#define CH2_EN                 NRF_GPIO_PIN_MAP(0,7)
// #define PCA_A0                 NRF_GPIO_PIN_MAP(0,8)
// #define PCA_A1                 NRF_GPIO_PIN_MAP(1,8)
// #define PCA_A2                 NRF_GPIO_PIN_MAP(1,9)
#define IRQ                    NRF_GPIO_PIN_MAP(0,22)
// #define COEX_GRANT             NRF_GPIO_PIN_MAP(1,5)
// #define COEX_REQ               NRF_GPIO_PIN_MAP(1,2)
// #define COEX_STATUS            NRF_GPIO_PIN_MAP(1,1)
#define QSPI_D3                NRF_GPIO_PIN_MAP(0,20)
#define QSPI_D2                NRF_GPIO_PIN_MAP(0,21)
#define QSPI_D1                NRF_GPIO_PIN_MAP(0,24)
#define QSPI_D0                NRF_GPIO_PIN_MAP(1,0)
#define QSPI_CS                NRF_GPIO_PIN_MAP(0,23)
#define QSPI_CLK               NRF_GPIO_PIN_MAP(0,25)
#define MODULE_EN              NRF_GPIO_PIN_MAP(1,4)
#define TXD_4G                 NRF_GPIO_PIN_MAP(1,7)
#define RXD_4G                 NRF_GPIO_PIN_MAP(1,6)
#define DTR_4G                 NRF_GPIO_PIN_MAP(1,5)
// #define IS_WIFI                NRF_GPIO_PIN_MAP(0,19)
// #define IS_FLASH               NRF_GPIO_PIN_MAP(0,17)
#define BUTTON                 NRF_GPIO_PIN_MAP(0,29)
#define BQ_CE                  NRF_GPIO_PIN_MAP(1,15)


#define GPIO_SET(pin,state)   ((state) ? nrf_gpio_pin_set(pin) : nrf_gpio_pin_clear(pin))           

typedef enum
{
  nosensor  = 0x00,   //悬空
  sht40     = 0x01,   //温湿度1
  bh1750    = 0x02,   //光照强度
  max44009  = 0x03    //光照强度
}sensor_TypeDef;

typedef struct
{
  bool      warm_icon_sta;
  bool      bt_sta;
  uint8_t   rssi;
  bool      storage_read_sta;   //是否开始读取数据（用于控制蓝牙发送）
  bool      storage_sta;        //是否开启存储（用于图标）
  bool      charging_sta;
  uint8_t   bat_level;          //5个等级,用于电量图标显示
  uint8_t   bat_precent;        //0 - 100%，用于电池电量服务更新
  uint8_t   samp_interval;      //采样间隔1-200min
  uint8_t   display_chn;        //当前显示第几个通道
  bool      start_send_flag;    //在收到status指令后，激活该旗标。断开蓝牙后重置该旗标
}yongker_TM_initTypedef;

typedef struct
{
  sensor_TypeDef    channel_type;   
  bool              temp_type_is_C;     //温度显示单位
  int16_t           temp_celsius;       //摄氏度-精确到小数点1位
  int16_t           temp_fahrenheit;    //华氏度-精确到小数点1位
  uint16_t          humidity;           //湿度
  uint16_t          klux;               //光照强度
  /* 每个通道都有对应报警阈值设置 */
  int16_t           h_temp;
  int16_t           l_temp;
  uint16_t          h_hum;
  uint16_t          l_hum;
  uint16_t          h_lux;
  uint16_t          l_lux;
  /* 通道对应存储了多少条数据，除了idx本身固有累计，其余在收到传送读取数据后重置 */
  bool              storage_over;       //存储超过20000条 
  uint16_t          storage_idx;        //0 - 19999条
  /* 读取(qspi flash数据)时专用 */
  bool              storage_read_ok;    //该通道读取完成  
  uint16_t          storage_read_idx;   //已经读取的数量
  /* ble发送(读取数据)专用 */
  uint8_t           sending_cnt;        //累计读15次，压入一包发送。用于计数发送累计次数
  bool              sending_sta;        //true:正在发送数据。 false：蓝牙数据还在FIFO中，或者fifo满了，还在堆积，没有发送，正在等待发送
  bool              sending_retry;      //冲发送旗标，默认false：本次/上一包数据发送成功   true：上一包发送失败，需要重发送
}yongker_tm_channelDef;
extern yongker_tm_channelDef   channel_0;
extern yongker_tm_channelDef   channel_1;
extern yongker_tm_channelDef   channel_2;
extern yongker_TM_initTypedef  yk_tm;

typedef struct 
{
  bool press_flag;
  bool short_flag;
  bool long_flag;
  bool more_long_flag;
  uint16_t press_cnt;
  uint16_t long_press_cnt;
}Button_InitTypeDef;
typedef struct 
{
  bool toogle_flag;
  uint8_t active_cnt;
}Vcheck_InitTypeDef;
extern Vcheck_InitTypeDef myVcheck;
/**
 * @brief 固定2.5秒读取一次rssi，并重置绘制信号强度变量
 * @note 只在蓝牙连接时执行
 */
void read_yonkerTM_BleRssi();
/**
 * @brief 串口指令处理函数
 * @see 不放到回调中执行，在工作队列中轮询到执行
 */
void yk_tm_order_cb();
/**
 * @brief 返回收到指令的命令
 * 
 * @param code 
 * @param len 
 */
void reback_order_Status(uint8_t *code, uint16_t len);
/**
 * @brief 判断数据是否等于发送间隔，然后定时发送
 */
void send_yktm_Data();
/**
 * @brief 预关机 
 */
void dev_intoSleep_front();
/**
 * @brief 彻底关机
 * 
 */
void dev_intoSleep(bool lowPow);
#endif
```

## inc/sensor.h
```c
#ifndef _SENSOR_H_
#define _SENSOR_H_

#include "main.h"

/** @see sht40 datasheet information notice 
 * device type is SHT40-AD1B, 0x44 I2c addr.
 */
#define SHT40_RESET                  0x94
#define SHT40_NUMBER                 0x89
#define SHT40_HIGH_REPEAT            0xFD
#define SHT40_MEDIUM_REPEAT          0xF6
#define SHT40_LOW_REPEAT             0xE0
/** @see active heater measurement */
#define SHT40_200MW_1SEC             0x39
#define SHT40_200MW_0_1SEC           0x32
#define SHT40_110MW_1SEC             0x2F
#define SHT40_110MW_0_1SEC           0x24
#define SHT40_20MW_1SEC              0x1E
#define SHT40_20MW_0_1SEC            0x15

/**
 * @brief device bh1750 register list
 * bh1750 resolurtion depend on mode set , @see P5
 * H-mode2 - 0.5lx
 * H-mode - 1lx
 * L-mode - 4lx
 */
#define BH1750_PDOWN                  0x00
#define BH1750_PON                    0x01
#define BH1750_RESET                  0x07
#define BH1750_CONTINU_H_MODE         0x10
#define BH1750_CONTINU_H_MODE2        0x11
#define BH1750_CONTINU_L_MODE         0x13
#define BH1750_SINGLE_H_MODE          0x20
#define BH1750_SINGLE_H_MODE2         0x21
#define BH1750_SINGLE_L_MODE          0x23

/**
 * @brief device max44009 ambient light sensor register list
 * wide dynamic range 0.045lux - 188000lux
 */
#define MAX_INT_STATUS                0x00
#define MAX_INIT_ENABLE               0x01
#define MAX_CONFIGURATION             0x02
#define MAX_HIGH_BYTE                 0x03
#define MAX_LOW_BYTE                  0x04
#define MAX_UPPER_THRESHOLD           0x05
#define MAX_LOWER_THRESHOLD           0x06
#define MAX_THRESHOLD_TIMER           0x07



/**
 * @brief 检查显示的通道，是否有超过当前阈值，需要报警的
 * 
 * @param chn 当前展示的通道
 */
void judege_sensor_warming(yongker_tm_channelDef *chn);
/**
 * @brief 检测通道是否存在传感器
 * 
 * @param chn 需要检测的通道序号
 * @return 返回对应通道的传感器是否存在，与存在的传感器类型
 */
uint8_t CheckChn_Sensor_is(uint8_t chn);
/**
 * @brief 对应通道读取数据，将数据有效传输
 * 
 * @param chn 对应通道
 */
void read_sensor_data(yongker_tm_channelDef *chn);
/**
 * @brief 对应通道检测是否超过报警阈值，同时更新显示屏幕
 * 
 * @param chn 对应通道
 */
void check_temp_hum_warming(yongker_tm_channelDef *chn);

void disable_iic_sensor();
uint8_t sensorType_is(yongker_tm_channelDef chn);



#endif
```

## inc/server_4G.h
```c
/**
 * @file server_4G.h
 * @author your name (you@domain.com)
 * @brief 
 * @version 0.1
 * @date 2026-01-05
 * 
 * @copyright Copyright (c) 2026
 * ME：移动设备
 * MS：移动台
 * MT：移动终端
 * APN：接入点名称。指的是一种网络技术，通过手机上网时必须配置的一个参数，他决定手机通过哪种方式来访问网络
 * PDN：公用数据网络
 * PDP：分组数据协议->PDP上下文包括APN，QOS，PDP类型，PDP地址
 * PPP：点到点协议
 * PSM power saving mode 节能模式
 * 是否注册GPRS：
 * **********************************************
 * 流程AT通信测试  ATE0关闭回西安
 * 然后开启全功能CFUN
 * CGDCONT 设置APN
 * CGATT 附着网络
 * QiACT 激活上下文
 * QIOPEN 建立连接
 ************************************************
 核心指令细节
 
 ************************************************
 休眠模式，
 设置at+cfun=0
 设置at+qsclk=1
************************************************
 * ATE0       关闭指令的回显
 * [后面连接上执行？] AT+CSQ     查看信号强度         ｜ 返回rssi和ber(信道误码率，百分比格式，99未知或不可测)
 * ATI        版本号
 * AT+CIMI    查看SIM卡状态                        | 返回USIM卡的国际移动用户识别吗IMSI，返回前3个460代表是中国
 * AT+CFUN    设置功能模式                         ｜ 0最小功能，低功耗状态   1全功能，正常功耗   4飞行模式
 * AT+QICLOSE=0   每次上电先断开socket
 * AT+CGDCONT=？  先查看一下PDP配置
 * AT+CGATT=1     网络附着状态检查
 * 
 */
#ifndef _SERVER_4G_H
#define _SERVER_4G_H

#include "main.h"

#define EC801_INIT_PERIOD   1000        //上电初始化的时间间隔

typedef struct 
{
  bool    init_is_ok;                   //默认false，初始化完成后为true，这样就有usim卡的ccid了
  uint8_t delay_secCnt;                 //所有设备延时状态
  /**
   * @brief 设备当前所处状态 0：停止状态，串口和4G standby
   * @brief               1: 刚上电/复位后在初始化。对应的init 状态
   * @brief               2: 正常5min发送数据，对应 send 状态
   */
  uint8_t dev_num;
  /**
   * @brief 移远设备初始化所在的位置
   * @see 0 : 发送ATE0
   * @see 1 ：发送AT+CPIN
   * 略，具体流程参考手册
   */
  uint8_t init_num;
  uint8_t init_cnt;               //指令发送次数
  uint8_t init_ATE0_okCnt;        //ATE0成功次数，这个是第一条，务必要求保障，同时验证是否已经正常开机了
  /**
   * @brief 移远间隔5min发送数据
   * @see 0: 发送ATE0(保险起见) 拉高dtr
   * @see 1: 开启cfun全功能模式
   * @see 2: 检查驻网               /需等待，连续5次不成功，跳到6
   * @see 3: 关闭socket
   * @see 4: 创建socket 连接tcp     /连续3次不成功，跳到6
   * @see 5: 读取rssi
   * @see 6: 发送数据               /数据发送成不成功，都跳到6，不做冲发送判断
   * @see 7: 关闭socket
   * @see 8: 关闭射频，拉低dtr，等待下1个5min发送数据
   */
  uint8_t send_num;
  uint8_t send_cnt;               //指令发送次数
  uint8_t send_ATE0_okCnt;        //发送数据时，发送ATE0成功次数
  uint8_t send_ing_sta;           //0:默认状态，发送完指令后自动转1->/1:发送QISEND/2:收到>，发送122bytes数据。 3:等待收到SEND OK
}Network_codeInit_Def;
extern Network_codeInit_Def ec801;


void uart_4Gnetwork_init();
void uart_tx_order(uint8_t *code, uint16_t length);
void uart_rx_data_cb(uint8_t *code, uint16_t length);
void EC801_interval_TimerCb();
void disable_uart0();




















































#endif
```

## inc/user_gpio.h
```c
#ifndef _USER_GPIO_H_
#define _USER_GPIO_H_

#include "main.h"

/**
 * @brief yonker_tm_gpio_init
 * @see 系统所有外设，传感器，控制芯片等GPIO初始化
 */
void yonker_tm_gpio_init();

























#endif
```

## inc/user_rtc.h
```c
#ifndef _USER_RTC_H_
#define _USER_RTC_H_

#include "main.h"
#include "lcd.h"

/* 12个月对应天数 */
static const uint8_t days_is_month[12] = {31, 28, 31, 30, 31, 30, 31, 31, 30, 31, 30, 31};
/**
 * @brief 设备的时间戳
 * 
 */
typedef struct{
  uint16_t  year;
  uint8_t   month;
  uint8_t   day;
  uint8_t   hour;
  uint8_t   min;
  uint8_t   sec;
}timeinfo_TypeDef;

 extern timeinfo_TypeDef	timeInfo_stamp;

/**
 * @brief 打印当前时间结构体
 */
void printf_user_NowTime();
/**
 * @brief 初始化RTC计数器
 */
void my_rtc_init();














#endif
```

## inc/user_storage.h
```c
#ifndef _USER_STORAGE_H_
#define _USER_STORAGE_H_

#include "main.h"

typedef enum{
  STORAGE_SUCCESS,
  DATA_SENDING,
  DATA_READING,
  DATA_NONE,
  READ_OK,

}storageReadSend_sta;

static const char ch0_title[] = {"本地通道的温湿度数据\n"};
static const char ch1_title[] = {"通道1数据\n"};
static const char ch2_title[] = {"通道2数据\n"};
static const char fifle_header[] = {"序号,类型,日期,温度,湿度,光强\n"};
/**
 * @brief 初始化flash和usb，同样的包含系统文件fatfs和对应每个通道的csv文件生成初始化。
 * 
 */
void Fatfs_storage_init();
/**向通道0-1-2内添加文件数据 */
void storageCutIn_chn0_data();
void storageCutIn_chn1_data();
void storageCutIn_chn2_data();
/**
 * @brief 删除所有通道的csv文件，重置存储序号和旗标
 */
void storage_clear_allFile();
void all_storage_close();
void all_storage_open();
/**对应通道文件，读取其数据,并且发送 */
void readStorage_SendData();
/* 中断读取操作，初始化所有读取变量 */
void stop_readStorage_SendSta();

void disable_qspi_mx25r32();
#endif
```

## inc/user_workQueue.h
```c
#ifndef _USER_WORKQUEUE_H
#define _USER_WORKQUEUE_H

#include "main.h"

/**
 * @brief 温湿度所有工作队列初始化声明
 * 
 */
void yongker_tm_work_queue_init();



















#endif
```
